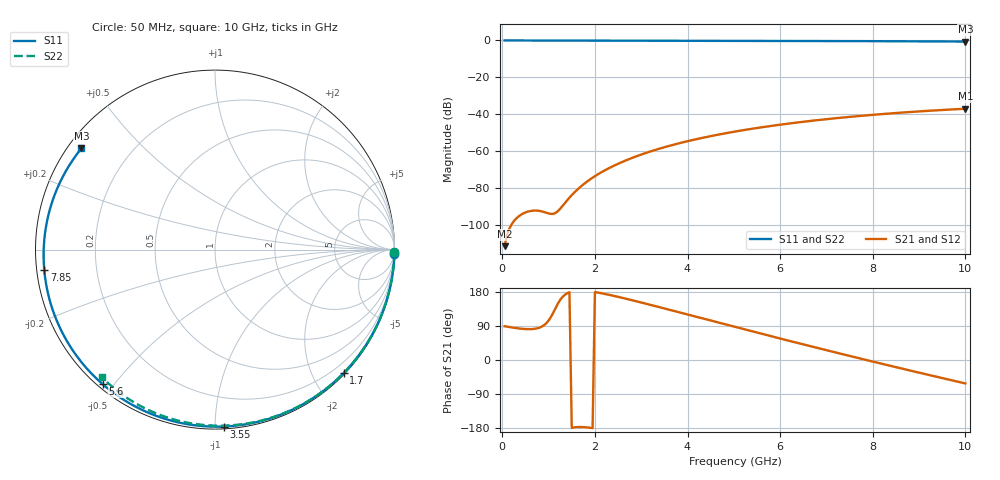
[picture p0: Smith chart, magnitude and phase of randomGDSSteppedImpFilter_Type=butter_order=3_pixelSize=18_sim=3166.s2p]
! freq	dB(S11)	phase(S11)	dB(S12)	phase(S12)
!  dB(S21)	phase(S21)	dB(S22)	phase(S22)
!S-par simulation data
#  GHz  S  DB  R 50
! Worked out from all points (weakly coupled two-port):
!   200 points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, 50 MHz to 10 GHz, reference 50 ohm
!   highest |S21| = -37.03 dB at 10 GHz (marker M1); lowest = -111.6 dB at 50 MHz (marker M2)
!   lowest |S11| = -0.6 dB at 10 GHz (marker M3), VSWR 29.23, Z = 1.9 + j16.8 ohm
!   |S11| at or under -10 dB: nowhere
!   |S22| runs from -0.4 to 0.0 dB; largest |S21 - S12| = 0
!   S11 on the Smith chart (normalised r, x): 50 MHz: 0, -86; 1.7 GHz: 0.02, -2.49; 3.55 GHz: 0.01, -1.05; 5.6 GHz: 0.01, -0.47; 7.85 GHz: 0.02, -0.06; 10 GHz: 0.04, +0.34
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0.05  -0.00 -1.3  -111.55 89.0  -111.55 89.0  -0.00 -0.8
0.45  -0.02 -11.8  -93.83 82.1  -93.83 82.1  -0.01 -6.8
0.85  -0.03 -22.2  -92.69 88.0  -92.69 88.0  -0.02 -12.8
1.25  -0.04 -32.5  -91.27 158.7  -91.27 158.7  -0.02 -18.8
1.65  -0.05 -42.5  -80.19 -176.8  -80.19 -176.8  -0.03 -24.8
1.7  -0.06 -43.8  -79.10 -176.8  -79.10 -176.8  -0.03 -25.5
1.75  -0.06 -45.0  -78.07 -177.1  -78.07 -177.1  -0.03 -26.2
2.05  -0.07 -52.4  -72.81 178.2  -72.81 178.2  -0.04 -30.6
2.45  -0.08 -62.0  -67.46 168.1  -67.46 168.1  -0.05 -36.4
2.9  -0.09 -72.6  -62.78 154.8  -62.78 154.8  -0.06 -42.9
3.4  -0.11 -83.9  -58.63 139.2  -58.63 139.2  -0.07 -50.0
3.55  -0.11 -87.2  -57.55 134.4  -57.55 134.4  -0.07 -52.0
4.25  -0.14 -102.3  -53.20 112.0  -53.20 112.0  -0.09 -61.7
5.05  -0.18 -118.8  -49.30 86.5  -49.30 86.5  -0.11 -72.3
5.6  -0.21 -129.8  -47.09 69.1  -47.09 69.1  -0.13 -79.4
6.15  -0.24 -140.6  -45.18 51.9  -45.18 51.9  -0.15 -86.4
6.7  -0.28 -151.2  -43.51 35.0  -43.51 35.0  -0.18 -93.2
7.3  -0.32 -162.7  -41.92 16.7  -41.92 16.7  -0.21 -100.4
7.85  -0.37 -173.3  -40.65 0.3  -40.65 0.3  -0.25 -107.0
8.35  -0.42 176.9  -39.63 -14.5  -39.63 -14.5  -0.29 -112.8
9.2  -0.51 159.8  -38.15 -39.2  -38.15 -39.2  -0.36 -122.6
10  -0.59 142.9  -37.03 -61.9  -37.03 -61.9  -0.45 -131.6
